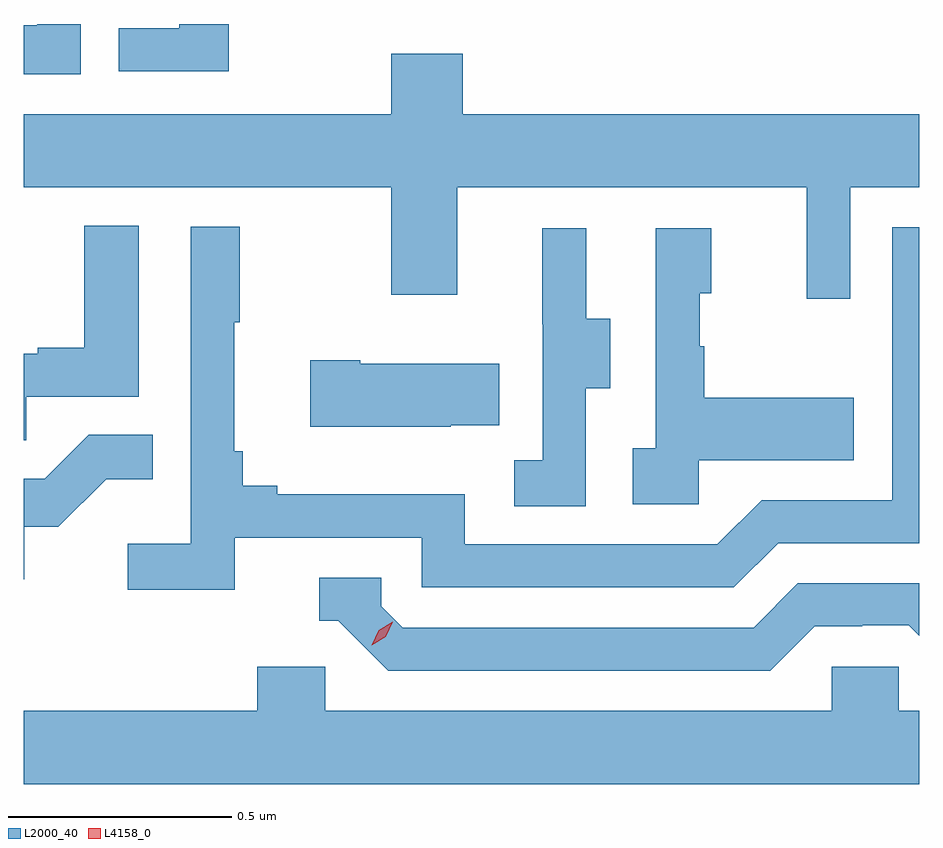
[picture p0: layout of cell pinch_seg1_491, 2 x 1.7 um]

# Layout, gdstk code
import gdstk
lib = gdstk.Library(unit=1e-6, precision=1e-09)
def P(c, l, *ps):  # polygons
    for p in ps: c.add(gdstk.Polygon(p, *l))
L2000_40 = (2000, 40)
L4158_0 = (4158, 0)

pinch_seg1_491 = lib.new_cell('pinch_seg1_491')
P(pinch_seg1_491, L2000_40, [(1101.859,540.109),(1101.748,540.109),(1101.748,540.1),(1101.613,540.1),(1101.613,540.003),(1101.859,540.003)],
  [(1101.528,540.109),(1101.431,540.109),(1101.431,540.106),(1101.401,540.106),(1101.401,539.997),(1101.528,539.997)],
  [(1103.247,539.744),(1103.401,539.744),(1103.401,539.908),(1102.382,539.908),(1102.382,540.043),(1102.222,540.043),(1102.222,539.908),(1101.401,539.908),(1101.401,539.744),(1102.222,539.744),(1102.222,539.505),(1102.369,539.505),(1102.369,539.744),(1103.15,539.744),(1103.15,539.496),(1103.247,539.496)],
  [(1101.407,539.277),(1101.658,539.277),(1101.658,539.659),(1101.536,539.659),(1101.536,539.386),(1101.433,539.386),(1101.433,539.373),(1101.401,539.373),(1101.401,539.179),(1101.407,539.179)],
  [(1101.872,538.962),(1102.29,538.962),(1102.29,538.851),(1102.987,538.851),(1103.086,538.95),(1103.401,538.95),(1103.401,539.655),(1103.34,539.655),(1103.34,539.046),(1103.049,539.046),(1102.95,538.947),(1102.386,538.947),(1102.386,539.059),(1101.967,539.059),(1101.967,539.078),(1101.89,539.078),(1101.89,539.155),(1101.871,539.155),(1101.871,539.443),(1101.883,539.443),(1101.883,539.656),(1101.774,539.656),(1101.774,538.948),(1101.633,538.948),(1101.633,538.846),(1101.872,538.846)],
  [(1102.908,539.135),(1103.255,539.135),(1103.255,539.275),(1102.921,539.275),(1102.921,539.39),(1102.911,539.39),(1102.911,539.508),(1102.936,539.508),(1102.936,539.653),(1102.812,539.653),(1102.812,539.162),(1102.761,539.162),(1102.761,539.037),(1102.908,539.037)],
  [(1102.656,539.296),(1102.711,539.296),(1102.711,539.451),(1102.657,539.451),(1102.657,539.653),(1102.559,539.653),(1102.559,539.439),(1102.56,539.439),(1102.56,539.135),(1102.497,539.135),(1102.497,539.032),(1102.656,539.032)],
  [(1102.355,539.213),(1102.463,539.213),(1102.463,539.35),(1102.153,539.35),(1102.153,539.358),(1102.041,539.358),(1102.041,539.21),(1102.355,539.21)],
  [(1101.402,538.986),(1101.478,538.986),(1101.585,539.093),(1101.689,539.093),(1101.689,539.192),(1101.546,539.192),(1101.448,539.094),(1101.401,539.094),(1101.401,538.869),(1101.402,538.869)],
  [(1103.167,538.764),(1103.274,538.764),(1103.274,538.767),(1103.377,538.767),(1103.401,538.743),(1103.401,538.86),(1103.13,538.86),(1103.031,538.761),(1102.248,538.761),(1102.2,538.809),(1102.2,538.872),(1102.061,538.872),(1102.061,538.776),(1102.104,538.776),(1102.215,538.665),(1103.068,538.665)],
  [(1103.401,538.576),(1103.355,538.576),(1103.355,538.674),(1103.205,538.674),(1103.205,538.576),(1102.074,538.576),(1102.074,538.674),(1101.923,538.674),(1101.923,538.576),(1101.401,538.576),(1101.401,538.412),(1103.401,538.412)])
P(pinch_seg1_491, L4158_0, [(1102.178,538.722),(1102.178,538.722),(1102.194,538.755),(1102.225,538.774),(1102.225,538.774),(1102.225,538.774),(1102.209,538.741),(1102.178,538.722)])

lib.write_gds('pinch_seg1_491.gds')
